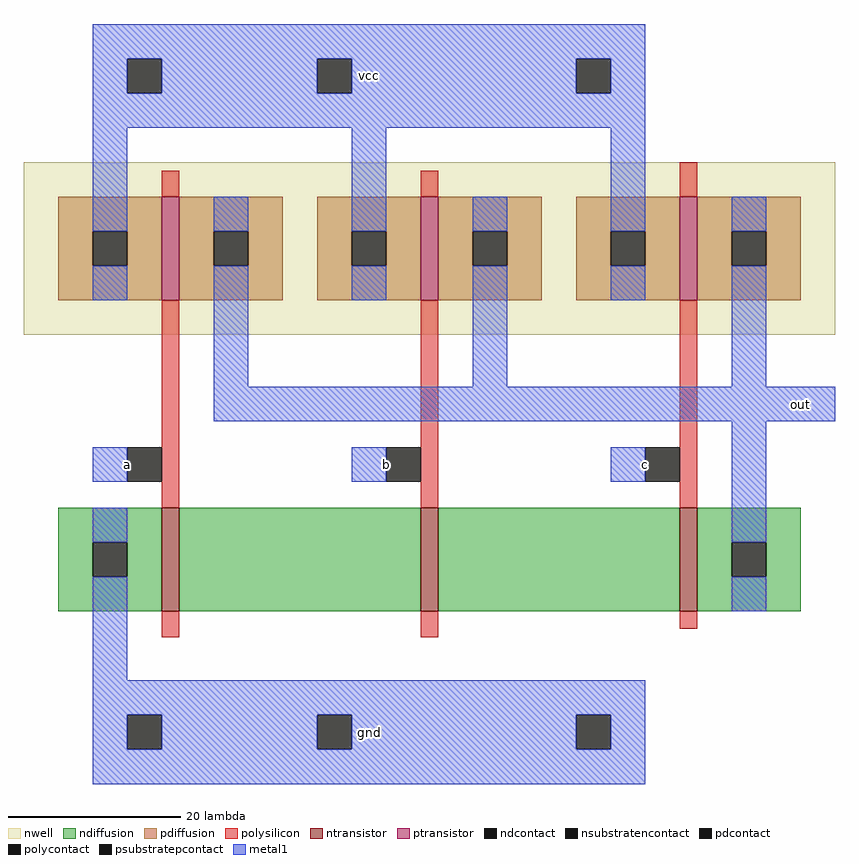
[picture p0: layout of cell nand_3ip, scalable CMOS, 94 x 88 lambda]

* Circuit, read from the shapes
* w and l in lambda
.subckt nand_3ip a b c gnd out vcc
M1 n1 a gnd vcc nfet w=12 l=2
M2 n2 b n1 vcc nfet w=12 l=2
M3 out c n2 vcc nfet w=12 l=2
M4 out a vcc n3 pfet w=12 l=2
M5 out b vcc n3 pfet w=12 l=2
M6 out c vcc n3 pfet w=12 l=2
.ends

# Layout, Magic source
magic
tech scmos
<< nwell >>
rect -8 -8 86 12
<< polysilicon >>
rect 8 8 10 11
rect 38 8 40 11
rect 68 8 70 12
rect 8 -28 10 -4
rect 38 -28 40 -4
rect 68 -28 70 -4
rect 8 -43 10 -40
rect 38 -43 40 -40
rect 68 -42 70 -40
<< ndiffusion >>
rect -4 -32 8 -28
rect -4 -36 0 -32
rect 4 -36 8 -32
rect -4 -40 8 -36
rect 10 -40 38 -28
rect 40 -40 68 -28
rect 70 -32 82 -28
rect 70 -36 74 -32
rect 78 -36 82 -32
rect 70 -40 82 -36
<< pdiffusion >>
rect -4 4 8 8
rect -4 0 0 4
rect 4 0 8 4
rect -4 -4 8 0
rect 10 4 22 8
rect 10 0 14 4
rect 18 0 22 4
rect 10 -4 22 0
rect 26 4 38 8
rect 26 0 30 4
rect 34 0 38 4
rect 26 -4 38 0
rect 40 4 52 8
rect 40 0 44 4
rect 48 0 52 4
rect 40 -4 52 0
rect 56 4 68 8
rect 56 0 60 4
rect 64 0 68 4
rect 56 -4 68 0
rect 70 4 82 8
rect 70 0 74 4
rect 78 0 82 4
rect 70 -4 82 0
<< metal1 >>
rect 0 24 64 28
rect 0 20 4 24
rect 8 20 26 24
rect 30 20 56 24
rect 60 20 64 24
rect 0 16 64 20
rect 0 4 4 16
rect 0 -4 4 0
rect 14 4 18 8
rect 14 -14 18 0
rect 30 4 34 16
rect 30 -4 34 0
rect 44 4 48 8
rect 44 -14 48 0
rect 60 4 64 16
rect 60 -4 64 0
rect 74 4 78 8
rect 74 -14 78 0
rect 14 -18 86 -14
rect 0 -25 4 -21
rect 30 -25 34 -21
rect 60 -25 64 -21
rect 0 -32 4 -28
rect 0 -48 4 -36
rect 74 -32 78 -18
rect 74 -40 78 -36
rect 0 -52 64 -48
rect 0 -56 4 -52
rect 8 -56 26 -52
rect 30 -56 56 -52
rect 60 -56 64 -52
rect 0 -60 64 -56
<< ntransistor >>
rect 8 -40 10 -28
rect 38 -40 40 -28
rect 68 -40 70 -28
<< ptransistor >>
rect 8 -4 10 8
rect 38 -4 40 8
rect 68 -4 70 8
<< polycontact >>
rect 4 -25 8 -21
rect 34 -25 38 -21
rect 64 -25 68 -21
<< ndcontact >>
rect 0 -36 4 -32
rect 74 -36 78 -32
<< pdcontact >>
rect 0 0 4 4
rect 14 0 18 4
rect 30 0 34 4
rect 44 0 48 4
rect 60 0 64 4
rect 74 0 78 4
<< psubstratepcontact >>
rect 4 20 8 24
rect 26 20 30 24
rect 56 20 60 24
<< nsubstratencontact >>
rect 4 -56 8 -52
rect 26 -56 30 -52
rect 56 -56 60 -52
<< labels >>
rlabel metal1 0 -60 64 -48 1 gnd
rlabel metal1 0 16 64 28 1 vcc
rlabel metal1 0 -25 8 -21 1 a
rlabel metal1 30 -25 38 -21 1 b
rlabel metal1 60 -25 68 -21 1 c
rlabel metal1 78 -18 86 -14 7 out
<< end >>
